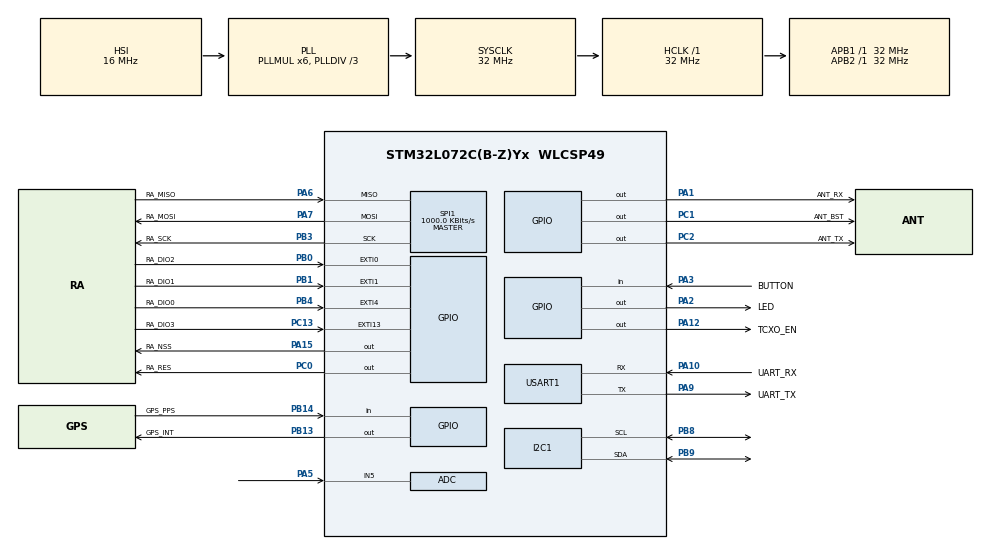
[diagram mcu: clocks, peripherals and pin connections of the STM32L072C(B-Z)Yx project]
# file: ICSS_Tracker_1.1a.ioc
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I2C1.Timing=0x00707CBB
Mcu.Family=STM32L0
Mcu.Name=STM32L072C(B-Z)Yx
Mcu.Package=WLCSP49
NVIC.EXTI0_1_IRQn=true\:0\:0\:false\:false\:true\:true\:true
NVIC.EXTI4_15_IRQn=true\:0\:0\:false\:false\:true\:true\:true
NVIC.RTC_IRQn=true\:0\:0\:false\:false\:true\:true\:true
PA1.GPIO_Label=ANT_RX
PA1.GPIO_Speed=GPIO_SPEED_FREQ_HIGH
PA1.PinState=GPIO_PIN_RESET
PA1.Signal=GPIO_Output
PA10.GPIO_Label=UART_RX
PA10.Mode=Asynchronous
PA10.Signal=USART1_RX
PA12.GPIO_Label=TCXO_EN
PA12.GPIO_Speed=GPIO_SPEED_FREQ_HIGH
PA12.Signal=GPIO_Output
PA13.Mode=Serial_Wire
PA13.Signal=SYS_SWDIO
PA14.Mode=Serial_Wire
PA14.Signal=SYS_SWCLK
PA15.GPIO_Label=RA_NSS
PA15.GPIO_Speed=GPIO_SPEED_FREQ_HIGH
PA15.Signal=GPIO_Output
PA2.GPIO_Label=LED
PA2.Signal=GPIO_Output
PA3.GPIO_Label=BUTTON
PA3.Signal=GPIO_Input
PA5.Mode=IN5
PA5.Signal=ADC_IN5
PA6.GPIO_Label=RA_MISO
PA6.Mode=Full_Duplex_Master
PA6.Signal=SPI1_MISO
PA7.GPIO_Label=RA_MOSI
PA7.Mode=Full_Duplex_Master
PA7.Signal=SPI1_MOSI
PA9.GPIO_Label=UART_TX
PA9.Mode=Asynchronous
PA9.Signal=USART1_TX
PB0.GPIO_Label=RA_DIO2
PB0.Signal=GPXTI0
PB1.GPIO_Label=RA_DIO1
PB1.Signal=GPXTI1
PB13.GPIO_Label=GPS_INT
PB13.GPIO_PuPd=GPIO_PULLDOWN
PB13.Signal=GPIO_Output
PB14.GPIO_Label=GPS_PPS
PB14.Signal=GPIO_Input
PB3.GPIO_Label=RA_SCK
PB3.Mode=Full_Duplex_Master
PB3.Signal=SPI1_SCK
PB4.GPIO_Label=RA_DIO0
PB4.Signal=GPXTI4
PB8.Mode=I2C
PB8.Signal=I2C1_SCL
PB9.Mode=I2C
PB9.Signal=I2C1_SDA
PC0.GPIO_Label=RA_RES
PC0.GPIO_Speed=GPIO_SPEED_FREQ_HIGH
PC0.Signal=GPIO_Output
PC1.GPIO_Label=ANT_BST
PC1.GPIO_Speed=GPIO_SPEED_FREQ_HIGH
PC1.Signal=GPIO_Output
PC13.GPIO_Label=RA_DIO3
PC13.Signal=GPXTI13
PC14-OSC32_IN.Mode=LSE-External-Oscillator
PC14-OSC32_IN.Signal=RCC_OSC32_IN
PC15-OSC32_OUT.Mode=LSE-External-Oscillator
PC15-OSC32_OUT.Signal=RCC_OSC32_OUT
PC2.GPIO_Label=ANT_TX
PC2.GPIO_Speed=GPIO_SPEED_FREQ_HIGH
PC2.Signal=GPIO_Output
ProjectManager.HeapSize=0x200
ProjectManager.StackSize=0x400
ProjectManager.TargetToolchain=MDK-ARM V5.27
RCC.AHBFreq_Value=32000000
RCC.APB1Freq_Value=32000000
RCC.APB1TimFreq_Value=32000000
RCC.APB2Freq_Value=32000000
RCC.APB2TimFreq_Value=32000000
RCC.HCLKFreq_Value=32000000
RCC.HSE_VALUE=8000000
RCC.HSI16_VALUE=16000000
RCC.HSI48_VALUE=48000000
RCC.HSI_VALUE=16000000
RCC.MSI_VALUE=2097000
RCC.PLLDIV=RCC_PLLDIV_3
RCC.PLLMUL=RCC_PLLMUL_6
RCC.SYSCLKFreq_VALUE=32000000
RCC.SYSCLKSource=RCC_SYSCLKSOURCE_PLLCLK
RCC.VCOOutputFreq_Value=96000000
RTC.Alarm-Alarm\ A=RTC_ALARM_A
RTC.AlarmSubSecondMask-Alarm\ A=RTC_ALARMSUBSECONDMASK_NONE
RTC.AsynchPrediv=31
RTC.Format=RTC_FORMAT_BIN
RTC.SynchPrediv=1023
SPI1.BaudRatePrescaler=SPI_BAUDRATEPRESCALER_32
SPI1.CalculateBaudRate=1000.0 KBits/s
SPI1.Direction=SPI_DIRECTION_2LINES
SPI1.Mode=SPI_MODE_MASTER
SPI1.VirtualType=VM_MASTER
USART1.VirtualMode-Asynchronous=VM_ASYNC
VP_IWDG_VS_IWDG.Mode=IWDG_Activate
VP_RTC_VS_RTC_Activate.Mode=RTC_Enabled
VP_RTC_VS_RTC_Alarm_A_Intern.Mode=Alarm A
VP_RTC_VS_RTC_Calendar.Mode=RTC_Calendar
board=B-L072Z-LRWAN1

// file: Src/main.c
/* USER CODE BEGIN Header */
/**
  ******************************************************************************
  * @file           : main.c
  * @brief          : Main program body
  ******************************************************************************
  * @attention
  *
  * <h2><center>&copy; Copyright (c) 2019 STMicroelectronics.
  * All rights reserved.</center></h2>
  *
  * This software component is licensed by ST under BSD 3-Clause license,
  * the "License"; You may not use this file except in compliance with the
  * License. You may obtain a copy of the License at:
  *                        opensource.org/licenses/BSD-3-Clause
  *
  ******************************************************************************
  */
/* USER CODE END Header */

#include "main.h"
#include "adc.h"
#include "i2c.h"
#include "iwdg.h"
#include "rtc.h"
#include "spi.h"
#include "usart.h"
#include "gpio.h"

/* USER CODE BEGIN Includes */

#include <stdio.h>
#include "ms5607.h"
#include "ublox.h"
#include "geofence.h"

/* USER CODE END Includes */

/* USER CODE BEGIN PV */

// Radio variables
uint32_t LoRa_tx_frequency									= 144800000; // needs to be changed to Lora TX frequency.
uint8_t TXLoRa                              = 1;

// UBLOX variables
uint8_t GPS_UBX_error_bitfield						= 0;

int32_t GPS_UBX_latitude									= 0;
int32_t GPS_UBX_longitude									= 0;
float GPS_UBX_latitude_Float							= 1.499827; // temp dummy for testing geofencing
float GPS_UBX_longitude_Float							= 103.813151;  // temp dummy for testing geofencing

int32_t GPSaltitude												= 0;

uint8_t GPShour														= 0;
uint8_t GPSminute													= 0;
uint8_t GPSsecond													= 0;
uint8_t GPSday														= 0;
uint8_t GPSmonth													= 0;
uint16_t GPSyear													= 0;

uint8_t GPSsats														= 0;
uint8_t GPSfix_type														= 0;
uint8_t GPSfix_OK												= 0;
uint8_t GPSvalidity												= 0;

uint8_t GPSnavigation											= 0;
uint8_t GPSpowermode											= 0;
uint8_t GPSpowersavemodestate							= 0;

int32_t GPSgroundspeed										= 0;
int32_t GPSheading												= 0;

uint16_t AD3data													= 0;
uint16_t AD9data													= 0;
uint16_t AD15data													= 0;
uint32_t telemCount												= 0;
uint32_t telemetry_len										= 0;

int32_t GPS_UBX_latitude_L								= 0;
int32_t GPS_UBX_longitude_L								= 0;
int32_t GPSaltitude_L											= 0;

uint32_t fixAttemptCount                  = 0;
uint8_t ack			                          = 0; // 1 is ack, 0 is nak

// Temperature Pressure variables
double PRESSURE_Value; // compensated pressure value
double TEMPERATURE_Value; // compensated temperature value

// GEOFENCE variables
uint32_t GEOFENCE_LoRa_frequency					= 0;
uint32_t GEOFENCE_no_tx										= 0;

//I2C related
uint8_t	i2c_buffer[2];
HAL_StatusTypeDef i2c_status;

// Battery/Solar voltage
uint32_t VCC_ADC												= 0;

//I2C related
uint8_t	i2c_buffer[2];
HAL_StatusTypeDef i2c_status;

uint8_t	buffer_0xB5[1];
uint8_t	buffer_0x62[1];
uint8_t buffer_ubx_packet_wo_header[150]; // this packet does not include the 0xb5 0x62 header

/* USER CODE END PV */

void SystemClock_Config(void);

/* USER CODE BEGIN 0 */

#ifdef __GNUC__
#define PUTCHAR_PROTOTYPE int __io_putchar(int ch)
#else
#define PUTCHAR_PROTOTYPE int fputc(int ch, FILE *f)
#endif

PUTCHAR_PROTOTYPE
{
    HAL_UART_Transmit(&huart1 , (uint8_t *)&ch, 1, 0xFFFF);
    return ch;
}

void check_ADC(void);

/* USER CODE END PFP */

/* Private user code ---------------------------------------------------------*/
/* USER CODE BEGIN 0 */

/* USER CODE END 0 */

int main(void)
{

  /* MCU Configuration--------------------------------------------------------*/

  /* Reset of all peripherals, Initializes the Flash interface and the Systick. */
  HAL_Init();

  /* Configure the system clock */
  SystemClock_Config();

  /* Initialize all configured peripherals */
  MX_GPIO_Init();
  MX_ADC_Init();
  MX_I2C1_Init();
  MX_RTC_Init();
  MX_SPI1_Init();
  MX_USART1_UART_Init();
  //MX_IWDG_Init();
  /* USER CODE BEGIN 2 */

	// keep checking if vcc voltage is high enough to carry on. NOT SURE IF NEEDED!. I think I should use inbuilt voltage measuremnt function

	HAL_GPIO_WritePin(GPIOA, LED_Pin, GPIO_PIN_SET);

	// Setup pressure and temperature sensor
	ms5607_Init();

	// GPS SETUP
	setup_GPS();

	// GPS INITIAL BACKUP
	Backup_GPS();

  /* USER CODE END 2 */

  /* Infinite loop */
  /* USER CODE BEGIN WHILE */
  while (1)
  {

	  while(!get_location_fix()); //

		HAL_Delay(1000);

    /* USER CODE END WHILE */

  }
}

void SystemClock_Config(void)
{
  RCC_OscInitTypeDef RCC_OscInitStruct = {0};
  RCC_ClkInitTypeDef RCC_ClkInitStruct = {0};
  RCC_PeriphCLKInitTypeDef PeriphClkInit = {0};

  /** Configure the main internal regulator output voltage
  */
  __HAL_PWR_VOLTAGESCALING_CONFIG(PWR_REGULATOR_VOLTAGE_SCALE1);
  /** Initializes the CPU, AHB and APB busses clocks
  */
  RCC_OscInitStruct.OscillatorType = RCC_OSCILLATORTYPE_HSI|RCC_OSCILLATORTYPE_LSI;
  RCC_OscInitStruct.HSIState = RCC_HSI_ON;
  RCC_OscInitStruct.HSICalibrationValue = RCC_HSICALIBRATION_DEFAULT;
  RCC_OscInitStruct.LSIState = RCC_LSI_ON;
  RCC_OscInitStruct.PLL.PLLState = RCC_PLL_ON;
  RCC_OscInitStruct.PLL.PLLSource = RCC_PLLSOURCE_HSI;
  RCC_OscInitStruct.PLL.PLLMUL = RCC_PLLMUL_6;
  RCC_OscInitStruct.PLL.PLLDIV = RCC_PLLDIV_3;
  if (HAL_RCC_OscConfig(&RCC_OscInitStruct) != HAL_OK)
  {
    Error_Handler();
  }
  /** Initializes the CPU, AHB and APB busses clocks
  */
  RCC_ClkInitStruct.ClockType = RCC_CLOCKTYPE_HCLK|RCC_CLOCKTYPE_SYSCLK
                              |RCC_CLOCKTYPE_PCLK1|RCC_CLOCKTYPE_PCLK2;
  RCC_ClkInitStruct.SYSCLKSource = RCC_SYSCLKSOURCE_PLLCLK;
  RCC_ClkInitStruct.AHBCLKDivider = RCC_SYSCLK_DIV1;
  RCC_ClkInitStruct.APB1CLKDivider = RCC_HCLK_DIV1;
  RCC_ClkInitStruct.APB2CLKDivider = RCC_HCLK_DIV1;

  if (HAL_RCC_ClockConfig(&RCC_ClkInitStruct, FLASH_LATENCY_1) != HAL_OK)
  {
    Error_Handler();
  }
  PeriphClkInit.PeriphClockSelection = RCC_PERIPHCLK_USART1|RCC_PERIPHCLK_I2C1
                              |RCC_PERIPHCLK_RTC;
  PeriphClkInit.Usart1ClockSelection = RCC_USART1CLKSOURCE_PCLK2;
  PeriphClkInit.I2c1ClockSelection = RCC_I2C1CLKSOURCE_PCLK1;
  PeriphClkInit.RTCClockSelection = RCC_RTCCLKSOURCE_LSI;
  if (HAL_RCCEx_PeriphCLKConfig(&PeriphClkInit) != HAL_OK)
  {
    Error_Handler();
  }
}

/* USER CODE BEGIN 4 */

void check_ADC(){

    HAL_ADC_Start(&hadc);
		if (HAL_ADC_PollForConversion(&hadc, 0xFF) == HAL_OK)
		{
				VCC_ADC = HAL_ADC_GetValue(&hadc);
		}
		HAL_ADC_Stop(&hadc);
}
/* USER CODE END 4 */

void Error_Handler(void)
{
}

/************************ (C) COPYRIGHT STMicroelectronics *****END OF FILE****/
